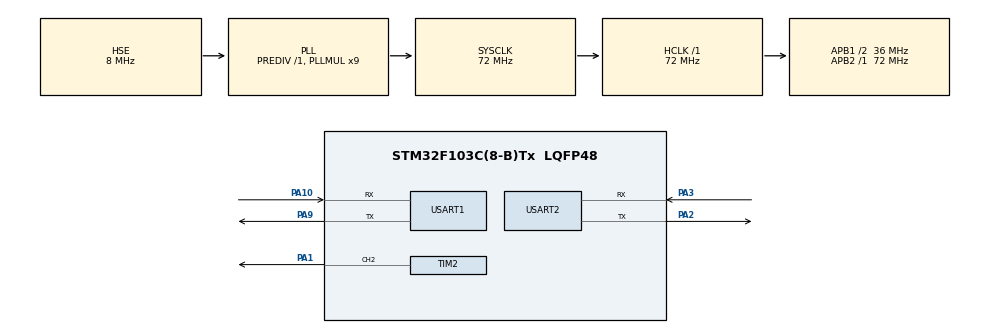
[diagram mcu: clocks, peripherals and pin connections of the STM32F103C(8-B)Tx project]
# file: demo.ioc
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FREERTOS.Tasks01=defaultTask,0,128,StartDefaultTask,Default,NULL,Dynamic,NULL,NULL;heart,-3,128,StartTask02,Default,NULL,Dynamic,NULL,NULL
Mcu.Family=STM32F1
Mcu.Name=STM32F103C(8-B)Tx
Mcu.Package=LQFP48
NVIC.PriorityGroup=NVIC_PRIORITYGROUP_4
NVIC.TIM3_IRQn=true\:15\:0\:false\:false\:true\:false\:false\:true
NVIC.TimeBase=TIM3_IRQn
NVIC.TimeBaseIP=TIM3
NVIC.USART2_IRQn=true\:5\:0\:false\:false\:true\:true\:true\:true
PA1.Signal=S_TIM2_CH2
PA10.Mode=Asynchronous
PA10.Signal=USART1_RX
PA13.Mode=Serial_Wire
PA13.Signal=SYS_JTMS-SWDIO
PA14.Mode=Serial_Wire
PA14.Signal=SYS_JTCK-SWCLK
PA2.Mode=Asynchronous
PA2.Signal=USART2_TX
PA3.Mode=Asynchronous
PA3.Signal=USART2_RX
PA9.Mode=Asynchronous
PA9.Signal=USART1_TX
PD0-OSC_IN.Mode=HSE-External-Oscillator
PD0-OSC_IN.Signal=RCC_OSC_IN
PD1-OSC_OUT.Mode=HSE-External-Oscillator
PD1-OSC_OUT.Signal=RCC_OSC_OUT
ProjectManager.HeapSize=0x200
ProjectManager.StackSize=0x400
ProjectManager.TargetToolchain=MDK-ARM V5.32
RCC.AHBFreq_Value=72000000
RCC.APB1CLKDivider=RCC_HCLK_DIV2
RCC.APB1Freq_Value=36000000
RCC.APB1TimFreq_Value=72000000
RCC.APB2Freq_Value=72000000
RCC.APB2TimFreq_Value=72000000
RCC.HCLKFreq_Value=72000000
RCC.PLLMUL=RCC_PLL_MUL9
RCC.PLLSourceVirtual=RCC_PLLSOURCE_HSE
RCC.SYSCLKFreq_VALUE=72000000
RCC.SYSCLKSource=RCC_SYSCLKSOURCE_PLLCLK
RCC.USBFreq_Value=72000000
SH.S_TIM2_CH2.0=TIM2_CH2,PWM Generation2 CH2
TIM2.Channel-PWM\ Generation2\ CH2=TIM_CHANNEL_2
TIM2.Period=20000-1
TIM2.Prescaler=72-1
TIM2.Pulse-PWM\ Generation2\ CH2=500
USART1.VirtualMode=VM_ASYNC
USART2.VirtualMode=VM_ASYNC
VP_FREERTOS_VS_CMSIS_V1.Mode=CMSIS_V1
VP_SYS_VS_tim3.Mode=TIM3
board=custom

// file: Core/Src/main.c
/* USER CODE BEGIN Header */
/**
  ******************************************************************************
  * @file           : main.c
  * @brief          : Main program body
  ******************************************************************************
  * @attention
  *
  * <h2><center>&copy; Copyright (c) 2023 STMicroelectronics.
  * All rights reserved.</center></h2>
  *
  * This software component is licensed by ST under BSD 3-Clause license,
  * the "License"; You may not use this file except in compliance with the
  * License. You may obtain a copy of the License at:
  *                        opensource.org/licenses/BSD-3-Clause
  *
  ******************************************************************************
  */
/* USER CODE END Header */
#include "main.h"
#include "cmsis_os.h"
#include "tim.h"
#include "usart.h"
#include "gpio.h"

/* USER CODE BEGIN Includes */
#include "esp.h"
#include "stdio.h"
#include "esp.h"
#include "emqx.h"
/* USER CODE END Includes */

void SystemClock_Config(void);
void MX_FREERTOS_Init(void);

int main(void)
{

  /* MCU Configuration--------------------------------------------------------*/

  /* Reset of all peripherals, Initializes the Flash interface and the Systick. */
  HAL_Init();

  /* USER CODE BEGIN Init */
	//��ӭ��עGitHub RayC02 ��ѵ����ǵ�һ�㣡
  /* USER CODE END Init */

  /* Configure the system clock */
  SystemClock_Config();

  /* Initialize all configured peripherals */
  MX_GPIO_Init();
  MX_USART1_UART_Init();
  MX_USART2_UART_Init();
  MX_TIM2_Init();
  /* USER CODE BEGIN 2 */
	HAL_TIM_PWM_Start(&htim2, TIM_CHANNEL_2);
	__HAL_TIM_SET_COMPARE(&htim2, TIM_CHANNEL_2,800);
	ESP8266_Init_SmartConfig();

  /* USER CODE END 2 */

  /* Call init function for freertos objects (in freertos.c) */
  MX_FREERTOS_Init();
  /* Start scheduler */
  osKernelStart();

  /* We should never get here as control is now taken by the scheduler */
  /* Infinite loop */
  while (1)
  {

  }
}

void SystemClock_Config(void)
{
  RCC_OscInitTypeDef RCC_OscInitStruct = {0};
  RCC_ClkInitTypeDef RCC_ClkInitStruct = {0};

  /** Initializes the RCC Oscillators according to the specified parameters
  * in the RCC_OscInitTypeDef structure.
  */
  RCC_OscInitStruct.OscillatorType = RCC_OSCILLATORTYPE_HSE;
  RCC_OscInitStruct.HSEState = RCC_HSE_ON;
  RCC_OscInitStruct.HSEPredivValue = RCC_HSE_PREDIV_DIV1;
  RCC_OscInitStruct.HSIState = RCC_HSI_ON;
  RCC_OscInitStruct.PLL.PLLState = RCC_PLL_ON;
  RCC_OscInitStruct.PLL.PLLSource = RCC_PLLSOURCE_HSE;
  RCC_OscInitStruct.PLL.PLLMUL = RCC_PLL_MUL9;
  if (HAL_RCC_OscConfig(&RCC_OscInitStruct) != HAL_OK)
  {
    Error_Handler();
  }
  /** Initializes the CPU, AHB and APB buses clocks
  */
  RCC_ClkInitStruct.ClockType = RCC_CLOCKTYPE_HCLK|RCC_CLOCKTYPE_SYSCLK
                              |RCC_CLOCKTYPE_PCLK1|RCC_CLOCKTYPE_PCLK2;
  RCC_ClkInitStruct.SYSCLKSource = RCC_SYSCLKSOURCE_PLLCLK;
  RCC_ClkInitStruct.AHBCLKDivider = RCC_SYSCLK_DIV1;
  RCC_ClkInitStruct.APB1CLKDivider = RCC_HCLK_DIV2;
  RCC_ClkInitStruct.APB2CLKDivider = RCC_HCLK_DIV1;

  if (HAL_RCC_ClockConfig(&RCC_ClkInitStruct, FLASH_LATENCY_2) != HAL_OK)
  {
    Error_Handler();
  }
}

void HAL_TIM_PeriodElapsedCallback(TIM_HandleTypeDef *htim)
{
  if (htim->Instance == TIM3) {
    HAL_IncTick();
  }
}

void Error_Handler(void)
{
  __disable_irq();
  while (1)
  {
  }
}

/************************ (C) COPYRIGHT STMicroelectronics *****END OF FILE****/

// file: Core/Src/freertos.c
/* USER CODE BEGIN Header */
/**
  ******************************************************************************
  * File Name          : freertos.c
  * Description        : Code for freertos applications
  ******************************************************************************
  * @attention
  *
  * <h2><center>&copy; Copyright (c) 2023 STMicroelectronics.
  * All rights reserved.</center></h2>
  *
  * This software component is licensed by ST under Ultimate Liberty license
  * SLA0044, the "License"; You may not use this file except in compliance with
  * the License. You may obtain a copy of the License at:
  *                             www.st.com/SLA0044
  *
  ******************************************************************************
  */
/* USER CODE END Header */

#include "FreeRTOS.h"
#include "task.h"
#include "main.h"
#include "cmsis_os.h"

/* USER CODE BEGIN Includes */
#include "esp.h"
#include "stdio.h"
#include "esp.h"
#include "emqx.h"
#define	EMQX_PUBLISH_MSG "heart/device2"
/* USER CODE END Includes */

osThreadId defaultTaskHandle;
osThreadId heartHandle;

void StartDefaultTask(void const * argument);
void StartTask02(void const * argument);

void MX_FREERTOS_Init(void); /* (MISRA C 2004 rule 8.1) */

/* GetIdleTaskMemory prototype (linked to static allocation support) */
void vApplicationGetIdleTaskMemory( StaticTask_t **ppxIdleTaskTCBBuffer, StackType_t **ppxIdleTaskStackBuffer, uint32_t *pulIdleTaskStackSize );

/* USER CODE BEGIN GET_IDLE_TASK_MEMORY */
static StaticTask_t xIdleTaskTCBBuffer;
static StackType_t xIdleStack[configMINIMAL_STACK_SIZE];

void vApplicationGetIdleTaskMemory( StaticTask_t **ppxIdleTaskTCBBuffer, StackType_t **ppxIdleTaskStackBuffer, uint32_t *pulIdleTaskStackSize )
{
  *ppxIdleTaskTCBBuffer = &xIdleTaskTCBBuffer;
  *ppxIdleTaskStackBuffer = &xIdleStack[0];
  *pulIdleTaskStackSize = configMINIMAL_STACK_SIZE;
  /* place for user code */
}
/* USER CODE END GET_IDLE_TASK_MEMORY */

void MX_FREERTOS_Init(void) {

  /* Create the thread(s) */
  /* definition and creation of defaultTask */
  osThreadDef(defaultTask, StartDefaultTask, osPriorityNormal, 0, 128);
  defaultTaskHandle = osThreadCreate(osThread(defaultTask), NULL);

  /* definition and creation of heart */
  osThreadDef(heart, StartTask02, osPriorityIdle, 0, 128);
  heartHandle = osThreadCreate(osThread(heart), NULL);

}

void StartDefaultTask(void const * argument)
{
  /* USER CODE BEGIN StartDefaultTask */
  /* Infinite loop */
  for(;;)
  {
				if(esp8266_cnt)
		{
			printf("接收到数据为：");
			EMQX_RevPro(esp8266_buf);
			ESP8266_Clear();
		}

    osDelay(100);
  }
  /* USER CODE END StartDefaultTask */
}

void StartTask02(void const * argument)
{
  /* USER CODE BEGIN StartTask02 */
  /* Infinite loop */
  for(;;)
  {
		EMQX_Publish(EMQX_PUBLISH_MSG,"{\"heart\":1}");
    osDelay(59000);
  }
  /* USER CODE END StartTask02 */
}

/************************ (C) COPYRIGHT STMicroelectronics *****END OF FILE****/
